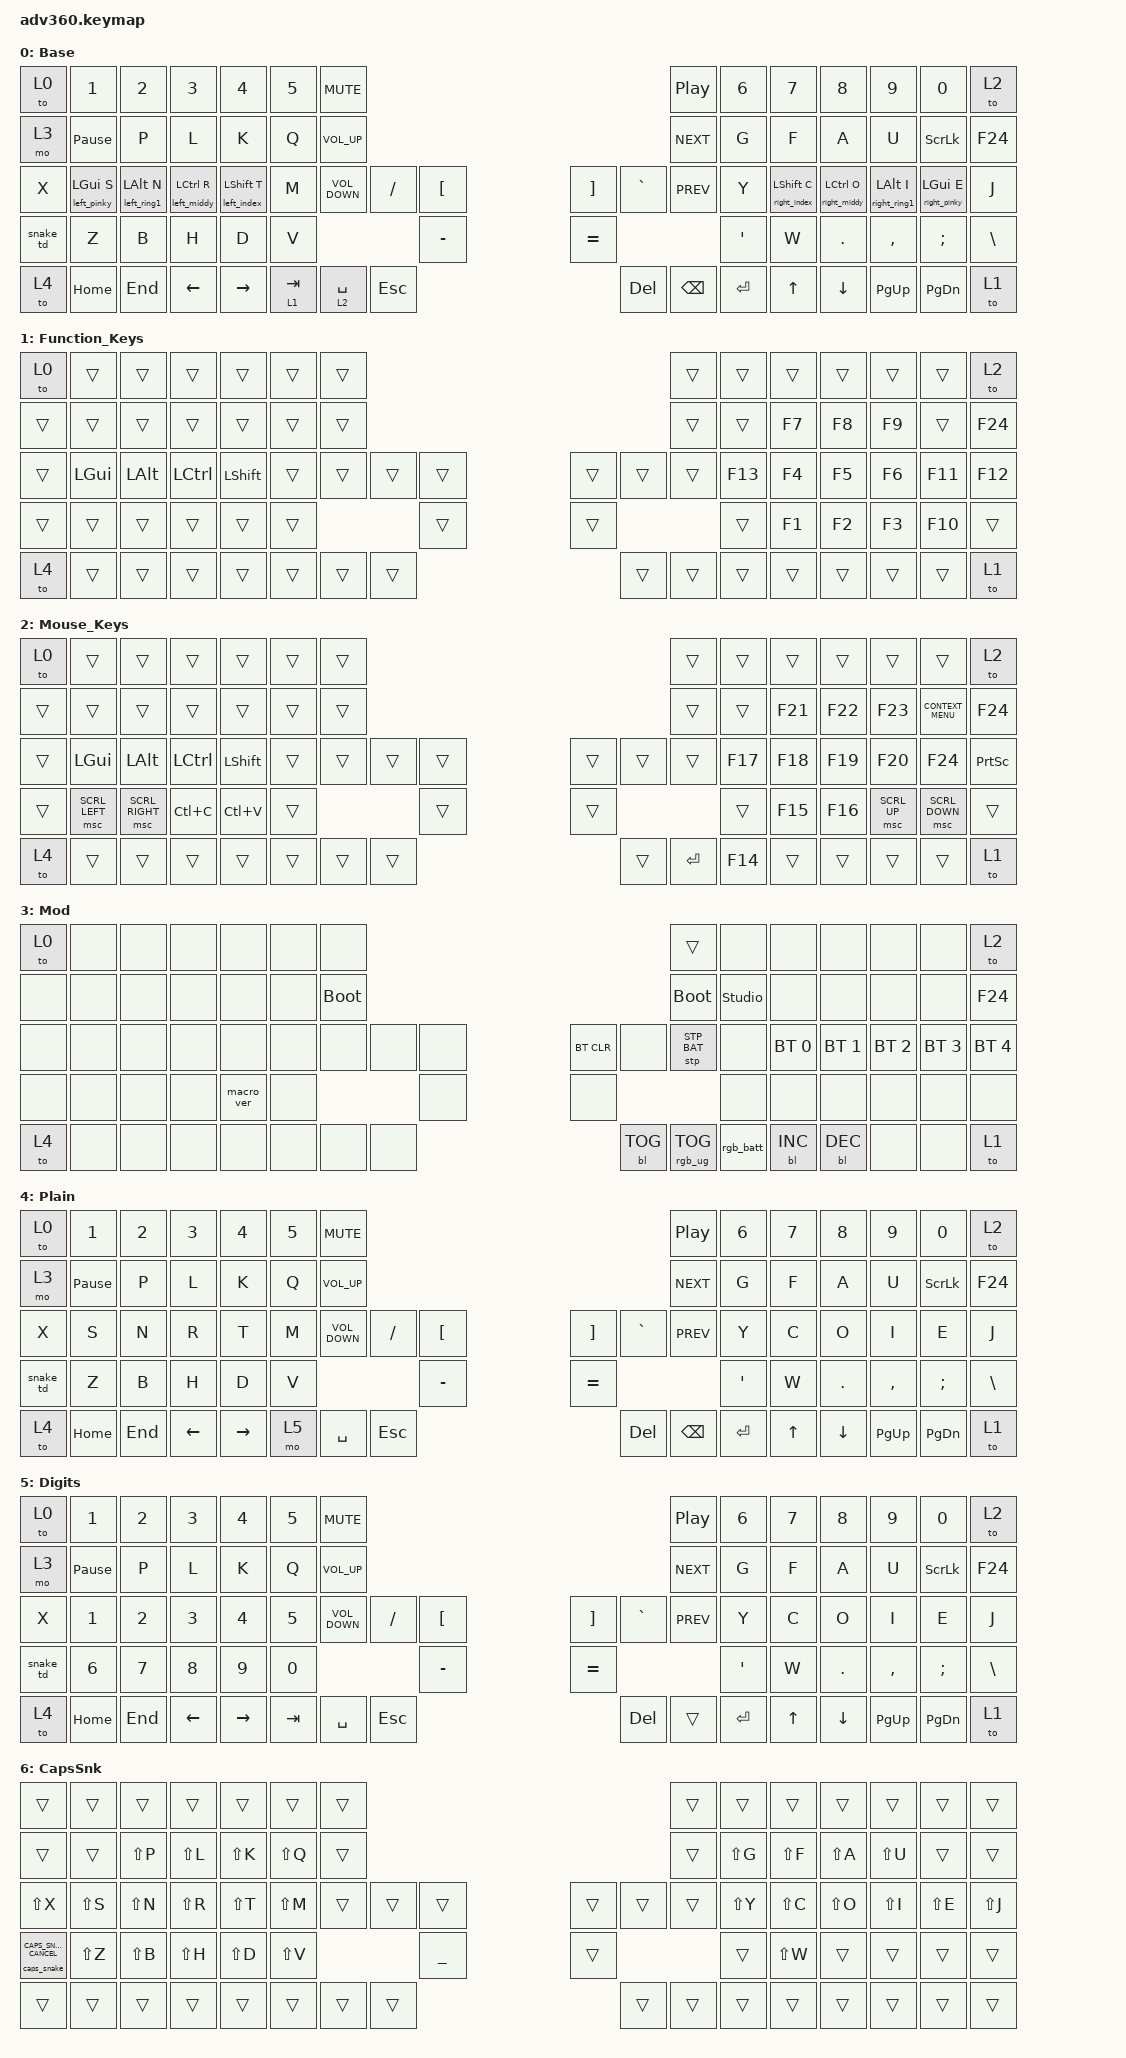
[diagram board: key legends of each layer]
#include "keyboard-behaviors.dtsi"

/ {
/* ─── Keymap ─────────────────────────────────────────────────────────────
 *
 * Physical layout reference (key positions):
 *
 *  Left Hand                                Right Hand
 *   0  1  2  3  4  5  6          7  8  9 10 11 12 13
 *  14 15 16 17 18 19 20         21 22 23 24 25 26 27
 *  28 29 30 31 32 33 34  35 36  37 38  39 40 41 42 43 44 45
 *  46 47 48 49 50 51        52  53     54 55 56 57 58 59
 *  60 61 62 63 64     65 66 67  68 69 70  71 72 73 74 75
 *
 *  Home row mods (layer 0, row 2):
 *    Left:  29=GUI  30=ALT  31=CTRL  32=SHIFT
 *    Right: 41=SHIFT  42=CTRL  43=ALT  44=GUI
 *
 * ──────────────────────────────────────────────────────────────────────── */

    keymap {
        compatible = "zmk,keymap";

        /* Layer 0: Base */
        default_layer {
              display-name = "Base";
            bindings = <
// ╭─ Left Hand ─────────────────────────────────────────────────────────────────╮                                                                                          ╭─ Right Hand ────────────────────────────────────────────────────────────────────╮
    &to 0       &kp NUMBER_1              &kp N2             &kp N3              &kp N4              &kp N5  &kp C_MUTE                                                          &kp C_PLAY_PAUSE  &kp N6              &kp N7             &kp N8              &kp N9           &kp N0       &to 2
    &mo 3       &kp PAUSE_BREAK          &kp P              &kp L               &kp K               &kp Q   &kp C_VOLUME_UP                                                    &kp C_NEXT        &kp G               &kp F              &kp A               &kp U            &kp SCROLLLOCK         &kp F24
    &kp X       &left_pinky LGUI S    &left_ring1 LALT N &left_middy LCTRL R &left_index LSHFT T &kp M   &kp C_VOLUME_DOWN  &kp SLASH  &kp LEFT_BRACKET  &kp RIGHT_BRACKET  &kp GRAVE         &kp C_PREV          &kp Y              &right_index LSHFT C &right_middy LCTRL O &right_ring1 LALT I &right_pinky LGUI E &kp J
    &snake_td  &kp Z                 &kp B              &kp H               &kp D               &kp V                      &kp MINUS  &kp EQUAL                            &kp SQT           &kp W               &kp PERIOD         &kp COMMA           &kp SEMICOLON    &kp BACKSLASH
    &to 4 &kp HOME             &kp END            &kp LEFT            &kp RIGHT                   &lt 1 TAB          &lt 2 SPACE &kp ESCAPE                          &kp DELETE         &kp BACKSPACE       &kp ENTER                              &kp UP           &kp DOWN       &kp PAGE_UP  &kp PAGE_DOWN  &to 1
            >;
        };

        /* Layer 1: Function Keys (F1-F12 on right hand, F13 on right home row) */
        Function_Keys {
            bindings = <
    &to 0   &trans       &trans        &trans     &trans          &trans  &trans                                                          &trans          &trans   &trans  &trans  &trans  &trans  &to 2
    &trans  &trans        &trans        &trans     &trans          &trans  &trans                                                          &trans          &trans   &kp F7  &kp F8  &kp F9  &trans  &kp F24
    &trans  &kp LEFT_GUI  &kp LEFT_ALT  &kp LCTRL  &kp LEFT_SHIFT &trans  &trans  &trans  &trans                              &trans  &trans  &trans      &kp F13  &kp F4  &kp F5  &kp F6  &kp F11  &kp F12
    &trans  &trans        &trans        &trans     &trans          &trans                  &trans                              &trans                      &trans   &kp F1  &kp F2  &kp F3  &kp F10  &trans
    &to 4   &trans        &trans        &trans     &trans                  &trans  &trans  &trans                              &trans  &trans  &trans               &trans  &trans  &trans  &trans   &to 1
            >;
        };

        /* Layer 2: Mouse Keys + F13-F24 */
        Mouse_Keys {
            bindings = <
    &to 0   &trans         &trans           &trans     &trans     &trans  &trans                                                          &trans  &trans    &trans   &trans   &trans          &trans              &to 2
    &trans  &trans          &trans           &trans     &trans     &trans  &trans                                                          &trans  &trans    &kp F21  &kp F22  &kp F23         &kp K_CONTEXT_MENU  &kp F24
    &trans  &kp LGUI        &kp LALT         &kp LCTRL  &kp LSHFT  &trans  &trans  &trans  &trans                              &trans  &trans  &trans  &kp F17   &kp F18  &kp F19  &kp F20         &kp F24             &kp PRINTSCREEN
    &trans  &msc SCRL_LEFT  &msc SCRL_RIGHT  &kp LC(C)  &kp LC(V)  &trans                  &trans                              &trans                  &trans    &kp F15  &kp F16  &msc SCRL_UP    &msc SCRL_DOWN      &trans
    &to 4   &trans          &trans           &trans     &trans             &trans  &trans  &trans                              &trans  &kp ENTER  &kp F14           &trans   &trans   &trans          &trans              &to 1
            >;
        };

        /* Layer 3: Meta / Bluetooth / Bootloader / LEDs */
        Meta_BT {
            display-name = "Mod";
            bindings = <
    &to 0   &none  &none  &none  &none     &none  &none                                                                           &trans       &none           &none         &none         &none         &none         &to 2
    &none  &none  &none  &none  &none       &none  &bootloader                                                                     &bootloader  &studio_unlock  &none         &none         &none         &none         &kp F24
    &none  &none  &none  &none  &none       &none  &none        &none  &none                              &bt BT_CLR  &none        &stp STP_BAT &none           &bt BT_SEL 0  &bt BT_SEL 1  &bt BT_SEL 2  &bt BT_SEL 3  &bt BT_SEL 4
    &none  &none  &none  &none  &macro_ver  &none                      &none                              &none                                 &none           &none         &none         &none         &none         &none
    &to 4  &none  &none  &none  &none              &none        &none  &none                              &bl BL_TOG  &rgb_ug RGB_TOG  &rgb_batt               &bl BL_INC    &bl BL_DEC    &none         &none         &to 1
            >;
        };

        /* Layer 4: Plain Base (no home row mods or layer-taps) */
        Plain_Base {
            display-name = "Plain";
            bindings = <
// ╭─ Left Hand ─────────────────────────────────────────────────────────────────╮                                                                                          ╭─ Right Hand ────────────────────────────────────────────────────────────────────╮
    &to 0       &kp NUMBER_1              &kp N2             &kp N3              &kp N4              &kp N5  &kp C_MUTE                                                          &kp C_PLAY_PAUSE  &kp N6              &kp N7             &kp N8              &kp N9           &kp N0       &to 2
    &mo 3       &kp PAUSE_BREAK          &kp P              &kp L               &kp K               &kp Q   &kp C_VOLUME_UP                                                    &kp C_NEXT        &kp G               &kp F              &kp A               &kp U            &kp SCROLLLOCK         &kp F24
    &kp X       &kp S                 &kp N              &kp R               &kp T               &kp M   &kp C_VOLUME_DOWN  &kp SLASH  &kp LEFT_BRACKET  &kp RIGHT_BRACKET  &kp GRAVE         &kp C_PREV          &kp Y              &kp C                &kp O                &kp I               &kp E               &kp J
    &snake_td  &kp Z                 &kp B              &kp H               &kp D               &kp V                      &kp MINUS  &kp EQUAL                            &kp SQT           &kp W               &kp PERIOD         &kp COMMA           &kp SEMICOLON    &kp BACKSLASH
    &to 4 &kp HOME             &kp END            &kp LEFT            &kp RIGHT                   &mo 5            &kp SPACE   &kp ESCAPE                          &kp DELETE         &kp BACKSPACE               &kp ENTER                              &kp UP           &kp DOWN       &kp PAGE_UP  &kp PAGE_DOWN  &to 1
            >;
        };

        /* Layer 5: Digits (plain base with left home/bottom rows as 1-0) */
        Digits {
            display-name = "Digits";
            bindings = <
// ╭─ Left Hand ─────────────────────────────────────────────────────────────────╮                                                                                          ╭─ Right Hand ────────────────────────────────────────────────────────────────────╮
    &to 0       &kp NUMBER_1              &kp N2             &kp N3              &kp N4              &kp N5  &kp C_MUTE                                                          &kp C_PLAY_PAUSE  &kp N6              &kp N7             &kp N8              &kp N9           &kp N0       &to 2
    &mo 3       &kp PAUSE_BREAK          &kp P              &kp L               &kp K               &kp Q   &kp C_VOLUME_UP                                                    &kp C_NEXT        &kp G               &kp F              &kp A               &kp U            &kp SCROLLLOCK         &kp F24
    &kp X       &kp N1                &kp N2             &kp N3              &kp N4              &kp N5  &kp C_VOLUME_DOWN  &kp SLASH  &kp LEFT_BRACKET  &kp RIGHT_BRACKET  &kp GRAVE         &kp C_PREV          &kp Y              &kp C                &kp O                &kp I               &kp E               &kp J
    &snake_td  &kp N6                &kp N7             &kp N8              &kp N9              &kp N0                     &kp MINUS  &kp EQUAL                            &kp SQT           &kp W               &kp PERIOD         &kp COMMA           &kp SEMICOLON    &kp BACKSLASH
    &to 4 &kp HOME             &kp END            &kp LEFT            &kp RIGHT                   &kp TAB            &kp SPACE   &kp ESCAPE                          &kp DELETE         &trans              &kp ENTER                              &kp UP           &kp DOWN       &kp PAGE_UP  &kp PAGE_DOWN  &to 1
            >;
        };

        /* Layer 7 (extra4) stays reserved for ZMK Studio. */

        /* Layer 6: Caps_Snake — pre-shifted snake layer. Letters are LS(x)
         * (self-contained caps, no OS caps-lock state); MINUS -> UNDERSCORE.
         * Reached via &snake_td: tap = auto-ending word, double-tap = locked. */
        Caps_Snake {
            display-name = "CapsSnk";
            bindings = <
    &trans     &trans     &trans     &trans     &trans     &trans     &trans                                                          &trans     &trans     &trans     &trans     &trans     &trans  &trans
    &trans     &trans     &kp LS(P)  &kp LS(L)  &kp LS(K)  &kp LS(Q)  &trans                                                          &trans     &kp LS(G)  &kp LS(F)  &kp LS(A)  &kp LS(U)  &trans  &trans
    &kp LS(X)  &kp LS(S)  &kp LS(N)  &kp LS(R)  &kp LS(T)  &kp LS(M)  &trans  &trans  &trans                              &trans  &trans  &trans  &kp LS(Y)  &kp LS(C)  &kp LS(O)  &kp LS(I)  &kp LS(E)  &kp LS(J)
    &caps_snake CAPS_SNAKE_CANCEL  &kp LS(Z)  &kp LS(B)  &kp LS(H)  &kp LS(D)  &kp LS(V)  &kp UNDERSCORE  &trans  &trans  &kp LS(W)  &trans  &trans  &trans  &trans
    &trans     &trans     &trans     &trans     &trans     &trans     &trans  &trans  &trans  &trans  &trans  &trans  &trans  &trans  &trans  &trans
            >;
        };

        extra4 {
            display-name = "Yellow";
            status = "reserved";
        };
    };
};
